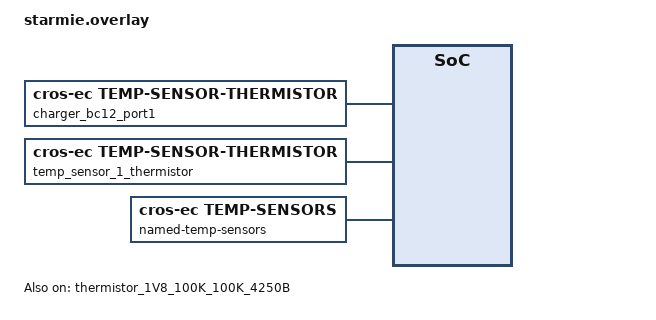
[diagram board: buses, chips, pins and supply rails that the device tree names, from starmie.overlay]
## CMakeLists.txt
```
# Copyright 2022 The ChromiumOS Authors
# Use of this source code is governed by a BSD-style license that can be
# found in the LICENSE file.

cmake_minimum_required(VERSION 3.13.1)
find_package(Zephyr REQUIRED HINTS "${ZEPHYR_BASE}")
project(starmie)

add_subdirectory(${PLATFORM_EC}/zephyr/test/test_utils test_utils)

zephyr_include_directories(
	"${PLATFORM_EC_PROGRAM_DIR}/corsola/include"
	include)

target_sources(
	app PRIVATE
	src/thermal_current.c
	${PLATFORM_EC_PROGRAM_DIR}/corsola/starmie/src/thermal.c)
```

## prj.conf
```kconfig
# Copyright 2023 The ChromiumOS Authors
# Use of this source code is governed by a BSD-style license that can be
# found in the LICENSE file.

CONFIG_ZTEST=y
CONFIG_ZTEST_ASSERT_VERBOSE=1
CONFIG_ZTEST_NEW_API=y

CONFIG_AP_ARM_MTK_MT8186=y
CONFIG_ASSERT=y
CONFIG_ADC=y
CONFIG_CROS_EC=y
CONFIG_EMUL=y

CONFIG_PLATFORM_EC=y
CONFIG_PLATFORM_EC_BACKLIGHT_LID=n
CONFIG_PLATFORM_EC_BATTERY_FUEL_GAUGE=y
CONFIG_PLATFORM_EC_CHARGER=y
CONFIG_PLATFORM_EC_CHARGER_PROFILE_OVERRIDE=y
CONFIG_PLATFORM_EC_CHARGER_SENSE_RESISTOR=10
CONFIG_PLATFORM_EC_CHARGER_SENSE_RESISTOR_AC=20
CONFIG_PLATFORM_EC_CHIPSET_RESUME_INIT_HOOK=y
CONFIG_PLATFORM_EC_EXTPOWER_GPIO=y
CONFIG_PLATFORM_EC_HOSTCMD=y
CONFIG_PLATFORM_EC_POWERSEQ=y
CONFIG_PLATFORM_EC_POWERSEQ_PP5000_CONTROL=n
CONFIG_PLATFORM_EC_SWITCH=n
CONFIG_PLATFORM_EC_VBOOT_HASH=n
CONFIG_PLATFORM_EC_USB_PD_DISCHARGE=y
CONFIG_PLATFORM_EC_USB_PD_DISCHARGE_PPC=y
CONFIG_PLATFORM_EC_USB_PD_VBUS_MEASURE_ADC_EACH_PORT=y

CONFIG_NATIVE_UART_0_ON_STDINOUT=y
```

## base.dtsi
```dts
/* Copyright 2023 The ChromiumOS Authors
 * Use of this source code is governed by a BSD-style license that can be
 * found in the LICENSE file.
 */

#include <it8xxx2_emul.dts>

/ {
	pinctrl: pinctrl {
		compatible = "ite,it8xxx2-pinctrl";
		status = "disabled";
	};
};
```

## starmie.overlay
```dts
/* Copyright 2023 The ChromiumOS Authors
 * Use of this source code is governed by a BSD-style license that can be
 * found in the LICENSE file.
 */

#include "base.dtsi"
#include "../program/corsola/ite_gpio.dtsi"
#include "../program/corsola/ite_interrupts.dtsi"
#include "../program/corsola/starmie/thermistor.dtsi"
#include <cros/thermistor/thermistor.dtsi>

/delete-node/ &pinctrl;

/ {
	charger_bc12_port1: charger {
		compatible = "cros-ec,temp-sensor-thermistor";

		thermistor = <&thermistor_rt9490>;
		adc = <&adc_charger>;
	};

	temp_sensor_1_thermistor: temp_sensor_1_thermistor {
		compatible = "cros-ec,temp-sensor-thermistor";

		thermistor = <&thermistor_1V8_100K_100K_4250B>;
		adc = <&adc_temp_sensor_1>;
	};

	named-temp-sensors {
		compatible = "cros-ec,temp-sensors";
		temp_charger: charger {
			sensor = <&charger_bc12_port1>;
		};

		lcd_thermistor: lcd_thermistor {
			sensor = <&temp_sensor_1_thermistor>;
		};
	};

	named-adc-channels {
		compatible = "named-adc-channels";

		adc_charger: charger {
			enum-name = "ADC_TEMP_SENSOR_CHARGER";
			io-channels = <&adc0 5>;
		};

		adc_temp_sensor_1: adc-temp-sensor-1 {
			enum-name = "ADC_TEMP_SENSOR_1";
			io-channels = <&adc0 1>;
		};
	};
};

&thermistor_1V8_100K_100K_4250B {
	status = "okay";
};
```

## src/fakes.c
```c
/* Copyright 2023 The ChromiumOS Authors
 * Use of this source code is governed by a BSD-style license that can be
 * found in the LICENSE file.
 */

#include "gpio_signal.h"

#include <zephyr/fff.h>

FAKE_VOID_FUNC(lid_interrupt, enum gpio_signal);
FAKE_VOID_FUNC(c0_bc12_interrupt, enum gpio_signal);
FAKE_VOID_FUNC(ccd_interrupt, enum gpio_signal);
FAKE_VOID_FUNC(x_ec_interrupt, enum gpio_signal);
FAKE_VOID_FUNC(xhci_interrupt, enum gpio_signal);
FAKE_VOID_FUNC(lis2dw12_interrupt, enum gpio_signal);
FAKE_VOID_FUNC(spi_event, enum gpio_signal);
FAKE_VOID_FUNC(switch_interrupt, enum gpio_signal);
FAKE_VOID_FUNC(icm42607_interrupt, enum gpio_signal);
FAKE_VOID_FUNC(gmr_tablet_switch_isr, enum gpio_signal);
FAKE_VOID_FUNC(button_interrupt, enum gpio_signal);
FAKE_VOID_FUNC(power_button_interrupt, enum gpio_signal);
FAKE_VOID_FUNC(pd_power_supply_reset, int);
FAKE_VOID_FUNC(tcpc_dump_std_registers, int);

FAKE_VALUE_FUNC(bool, in_interrupt_context);
FAKE_VALUE_FUNC(int, power_button_is_pressed);
FAKE_VALUE_FUNC(int, pd_set_power_supply_ready, int);
FAKE_VALUE_FUNC(int, pd_check_vconn_swap, int);
```

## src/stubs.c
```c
/* Copyright 2023 The ChromiumOS Authors
 * Use of this source code is governed by a BSD-style license that can be
 * found in the LICENSE file.
 */

int board_get_adjusted_usb_pd_port_count(int port)
{
	return 1;
}
```

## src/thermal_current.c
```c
/* Copyright 2023 The ChromiumOS Authors
 * Use of this source code is governed by a BSD-style license that can be
 * found in the LICENSE file.
 */

#include "charge_state.h"
#include "charger.h"
#include "charger_profile_override.h"
#include "chipset.h"
#include "common.h"
#include "config.h"
#include "hooks.h"
#include "power.h"
#include "temp_sensor.h"
#include "temp_sensor/temp_sensor.h"
#include "util.h"

#include <zephyr/drivers/adc.h>
#include <zephyr/drivers/adc/adc_emul.h>
#include <zephyr/fff.h>
#include <zephyr/kernel.h>
#include <zephyr/ztest.h>

FAKE_VALUE_FUNC(enum power_state, power_get_state);

enum power_state state_temp;
enum power_state power_get_state_mock(void)
{
	return state_temp;
}

#define ADC_DEVICE_NODE DT_NODELABEL(adc0)
#define CHARGER_TEMP TEMP_SENSOR_ID(DT_NODELABEL(temp_charger))
#define ORIGINAL_CURRENT 5000

/* Limit charging current table : 2500/1800/1000/0
 * note this should be in descending order.
 */
static uint16_t temp_charger_voltage[] = {
	731, 708, 682, 653, 622, 589, 554, 519, 483, 446, 411,
	376, 343, 312, 284, 257, 232, 209, 188, 169, 152,
};

static uint16_t current_table[] = {
	2500,
	1800,
	1000,
	0,
};

struct charge_state_data curr;

/** Simple ADC emulator custom function which always return error */
static int adc_error_func(const struct device *dev, unsigned int channel,
			  void *param, uint32_t *result)
{
	return -EINVAL;
}

void setup_adc(const struct device *adc_dev, int sensor, int voltage)
{
	int temp;

	/* ADC channel of tested sensor return valid value */
	zassert_ok(adc_emul_const_value_set(adc_dev, temp_sensors[sensor].idx,
					    voltage),
		   "adc_emul_const_value_set() failed (sensor %d)", sensor);
	zassert_equal(EC_SUCCESS, temp_sensor_read(sensor, &temp));
	zassert_within(
		temp, 273 + 50, 51,
		"Expected temperature in 0*C-100*C, got %d*C (sensor %d)",
		temp - 273, sensor);
	/* Return error on ADC channel of tested sensor */
	zassert_ok(adc_emul_value_func_set(adc_dev, temp_sensors[sensor].idx,
					   adc_error_func, NULL),
		   "adc_emul_value_func_set() failed (sensor %d)", sensor);
}

void setup_faketemp(int voltage1, int voltage2)
{
	const struct device *adc_dev = DEVICE_DT_GET(ADC_DEVICE_NODE);
	const uint8_t channel_id1 =
		DT_IO_CHANNELS_INPUT(DT_NODELABEL(adc_charger));
	const uint8_t channel_id2 =
		DT_IO_CHANNELS_INPUT(DT_NODELABEL(adc_temp_sensor_1));

	adc_emul_const_value_set(adc_dev, channel_id1, voltage1);
	setup_adc(adc_dev, channel_id2, voltage2);
}

void setup_fakefive(int voltage1, int voltage2)
{
	int i;

	for (i = 0; i < 5; i++) {
		curr.requested_current = ORIGINAL_CURRENT;
		setup_faketemp(voltage1, voltage2);
		charger_profile_override(&curr);
	}
}

ZTEST(temp_current, test_placeholder)
{
	int temp_ave_voltage, charger_voltage;

	/* debounce */
	power_get_state_fake.custom_fake = power_get_state_mock;

	/*
	 * curr.batt.flags != BATT_FLAG_RESPONSIVE
	 * charger = 50, lcd_ntc = 43
	 */
	setup_faketemp(411, 446);
	zassert_equal(0, charger_profile_override(&curr), NULL);
	/*
	 * curr.batt.flags = BATT_FLAG_RESPONSIVE | BATT_FLAG_BAD_TEMPERATURE
	 * charger = 50, lcd_ntc = 40
	 */
	curr.batt.flags = BATT_FLAG_RESPONSIVE | BATT_FLAG_BAD_TEMPERATURE;
	curr.requested_current = ORIGINAL_CURRENT;
	setup_faketemp(411, 606);
	charger_profile_override(&curr);
	zassert_equal(current_table[3], curr.requested_current, NULL);

	/*
	 * curr.batt.flags = BATT_FLAG_RESPONSIVE
	 * charger = 80, lcd_ntc = 40
	 */
	curr.batt.flags = BATT_FLAG_RESPONSIVE;
	setup_fakefive(temp_charger_voltage[17], 606);
	setup_faketemp(temp_charger_voltage[17], 606);
	charger_profile_override(&curr);
	zassert_equal(current_table[3], curr.requested_current, NULL);

	state_temp = POWER_S0;
	/*
	 * curr.batt.flags = BATT_FLAG_RESPONSIVE | BATT_FLAG_BAD_TEMPERATURE
	 * charger = 45, lcd_ntc = 43
	 */
	curr.batt.flags = BATT_FLAG_RESPONSIVE | BATT_FLAG_BAD_TEMPERATURE;
	curr.requested_current = ORIGINAL_CURRENT;
	setup_faketemp(temp_charger_voltage[9], 446);
	charger_profile_override(&curr);
	zassert_equal(current_table[3], curr.requested_current, NULL);

	/*
	 * curr.batt.flags = BATT_FLAG_RESPONSIVE
	 * charger = 80, lcd_ntc = 40
	 */
	curr.batt.flags = BATT_FLAG_RESPONSIVE;
	setup_fakefive(temp_charger_voltage[18], 446);
	zassert_equal(current_table[3], curr.requested_current, NULL);

	/*
	 * curr.batt.flags = BATT_FLAG_RESPONSIVE | BATT_FLAG_BAD_TEMPERATURE
	 * charger = 50, lcd_ntc < 43
	 */
	curr.batt.flags = BATT_FLAG_RESPONSIVE | BATT_FLAG_BAD_TEMPERATURE;
	curr.requested_current = ORIGINAL_CURRENT;
	setup_faketemp(temp_charger_voltage[10], 2500);
	charger_profile_override(&curr);
	zassert_equal(current_table[3], curr.requested_current, NULL);

	/*
	 * curr.batt.flags = BATT_FLAG_RESPONSIVE
	 * charger = 50, lcd_ntc < 43
	 */
	curr.batt.flags = BATT_FLAG_RESPONSIVE;
	setup_fakefive(temp_charger_voltage[17], 1219);
	setup_faketemp(temp_charger_voltage[17], 1219);
	charger_profile_override(&curr);
	zassert_equal(current_table[3], curr.requested_current, NULL);

	/*
	 * curr.batt.flags = BATT_FLAG_RESPONSIVE | BATT_FLAG_BAD_TEMPERATURE
	 * charger = 45, lcd_ntc > 43
	 */
	curr.batt.flags = BATT_FLAG_RESPONSIVE | BATT_FLAG_BAD_TEMPERATURE;
	curr.requested_current = ORIGINAL_CURRENT;
	setup_faketemp(temp_charger_voltage[9], 0);
	charger_profile_override(&curr);
	zassert_equal(current_table[3], curr.requested_current, NULL);

	/*
	 * curr.batt.flags = BATT_FLAG_RESPONSIVE
	 * charger = 80, lcd_ntc > 43
	 */
	curr.batt.flags = BATT_FLAG_RESPONSIVE;
	setup_fakefive(temp_charger_voltage[18], 0);
	setup_faketemp(temp_charger_voltage[18], 0);
	charger_profile_override(&curr);
	zassert_equal(current_table[3], curr.requested_current, NULL);

	/*
	 * curr.batt.flags = BATT_FLAG_RESPONSIVE | BATT_FLAG_BAD_TEMPERATURE
	 * charger = 50, lcd_ntc = 40
	 */
	curr.batt.flags = BATT_FLAG_RESPONSIVE | BATT_FLAG_BAD_TEMPERATURE;
	curr.requested_current = ORIGINAL_CURRENT;
	setup_faketemp(temp_charger_voltage[10], 606);
	charger_profile_override(&curr);
	zassert_equal(current_table[3], curr.requested_current, NULL);

	/*
	 * curr.batt.flags = BATT_FLAG_RESPONSIVE
	 * charger = 80, lcd_ntc = 40
	 */
	curr.batt.flags = BATT_FLAG_RESPONSIVE;
	setup_fakefive(temp_charger_voltage[17], 606);
	setup_faketemp(temp_charger_voltage[17], 606);
	charger_profile_override(&curr);
	zassert_equal(current_table[3], curr.requested_current, NULL);

	/*
	 * curr.batt.flags = BATT_FLAG_RESPONSIVE
	 * charger -> 45, lcd_ntc = 43
	 */
	setup_fakefive(temp_charger_voltage[9], 446);
	temp_ave_voltage =
		(temp_charger_voltage[9] - temp_charger_voltage[10]) / 5;
	charger_voltage = temp_charger_voltage[10] + temp_ave_voltage;
	temp_ave_voltage =
		(temp_charger_voltage[10] - temp_charger_voltage[11]) / 5;
	setup_fakefive(charger_voltage, 446);
	zassert_equal(ORIGINAL_CURRENT, curr.requested_current, NULL);

	/*
	 * curr.batt.flags = BATT_FLAG_RESPONSIVE
	 * charger -> 50, lcd_ntc = 43
	 */
	charger_voltage = temp_charger_voltage[10] - (temp_ave_voltage * 2);
	setup_fakefive(charger_voltage, 446);
	zassert_equal(current_table[0], curr.requested_current, NULL);

	/*
	 * curr.batt.flags = BATT_FLAG_RESPONSIVE
	 * charger -> 53, lcd_ntc = 43
	 */
	charger_voltage = temp_charger_voltage[11] + temp_ave_voltage;
	setup_fakefive(charger_voltage, 446);
	zassert_equal(current_table[1], curr.requested_current, NULL);

	/*
	 * curr.batt.flags = BATT_FLAG_RESPONSIVE
	 * charger -> 56, lcd_ntc = 43
	 */
	temp_ave_voltage =
		(temp_charger_voltage[11] - temp_charger_voltage[12]) / 5;
	charger_voltage = temp_charger_voltage[11] - (temp_ave_voltage * 2);
	setup_fakefive(charger_voltage, 446);
	zassert_equal(current_table[2], curr.requested_current, NULL);

	/*
	 * curr.batt.flags = BATT_FLAG_RESPONSIVE
	 * charger -> 80, lcd_ntc = 43
	 */
	temp_ave_voltage =
		(temp_charger_voltage[16] - temp_charger_voltage[17]) / 5;
	charger_voltage = temp_charger_voltage[16] - (temp_ave_voltage * 2);
	setup_fakefive(charger_voltage, 446);
	setup_faketemp(charger_voltage, 446);
	charger_profile_override(&curr);
	zassert_equal(current_table[3], curr.requested_current, NULL);

	/*
	 * curr.batt.flags = BATT_FLAG_RESPONSIVE
	 * charger -> 79, lcd_ntc = 43
	 */
	temp_ave_voltage =
		(temp_charger_voltage[15] - temp_charger_voltage[16]) / 5;
	charger_voltage = temp_charger_voltage[16] + (temp_ave_voltage * 2);
	setup_fakefive(charger_voltage, 446);
	zassert_equal(current_table[2], curr.requested_current, NULL);

	/*
	 * curr.batt.flags = BATT_FLAG_RESPONSIVE
	 * charger -> 54, lcd_ntc = 43
	 */
	temp_ave_voltage =
		(temp_charger_voltage[10] - temp_charger_voltage[11]) / 5;
	charger_voltage = temp_charger_voltage[11] + (temp_ave_voltage * 2);
	setup_faketemp(temp_charger_voltage[11], 446);
	charger_profile_override(&curr);
	setup_fakefive(charger_voltage, 446);
	zassert_equal(current_table[1], curr.requested_current, NULL);

	/*
	 * curr.batt.flags = BATT_FLAG_RESPONSIVE
	 * charger -> 50, lcd_ntc = 43
	 */
	temp_ave_voltage =
		(temp_charger_voltage[9] - temp_charger_voltage[10]) / 5;
	charger_voltage = temp_charger_voltage[10] + temp_ave_voltage;
	setup_faketemp(temp_charger_voltage[10], 446);
	charger_profile_override(&curr);
	setup_fakefive(charger_voltage, 446);
	zassert_equal(current_table[0], curr.requested_current, NULL);

	/*
	 * curr.batt.flags = BATT_FLAG_RESPONSIVE
	 * charger > 45, lcd_ntc = 43
	 */
	temp_ave_voltage =
		(temp_charger_voltage[8] - temp_charger_voltage[9]) / 5;
	charger_voltage = temp_charger_voltage[9] + (temp_ave_voltage * 2);
	setup_fakefive(charger_voltage, 446);
	zassert_equal(ORIGINAL_CURRENT, curr.requested_current, NULL);
}

ZTEST_SUITE(temp_current, NULL, NULL, NULL, NULL, NULL);
```
